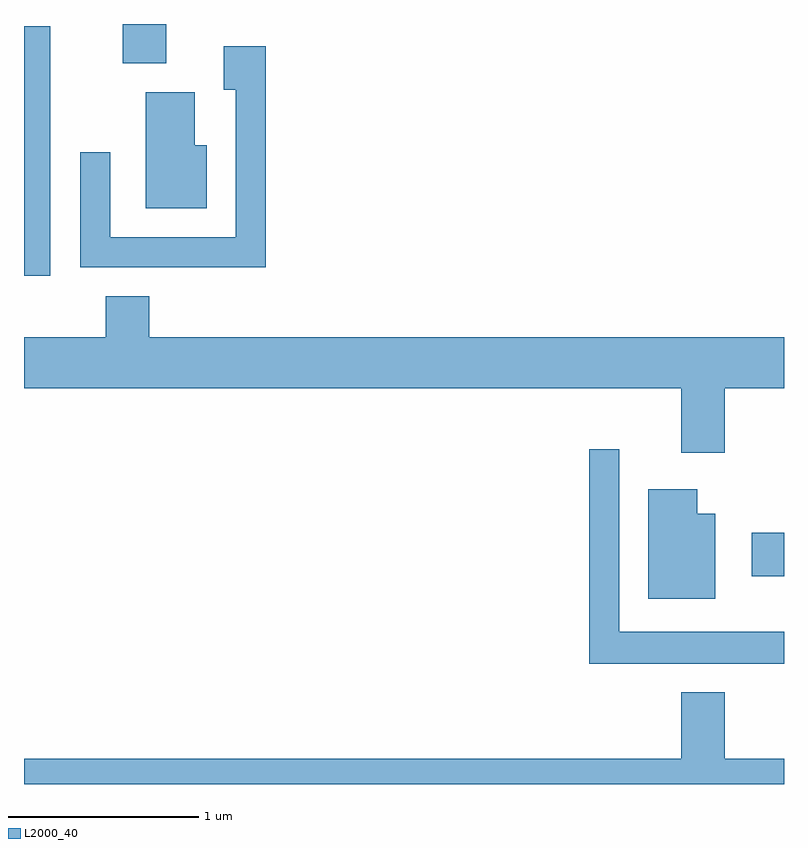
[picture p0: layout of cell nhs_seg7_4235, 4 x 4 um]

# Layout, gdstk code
import gdstk
lib = gdstk.Library(unit=1e-6, precision=1e-09)
def R(c, l, rs):  # rectangles x0, y0, x1, y1
    for r in rs: c.add(gdstk.rectangle(r[:2], r[2:], *l))
def P(c, l, *ps):  # polygons
    for p in ps: c.add(gdstk.Polygon(p, *l))
L2000_40 = (2000, 40)

nhs_seg7_4235 = lib.new_cell('nhs_seg7_4235')
R(nhs_seg7_4235, L2000_40, [(319.441,1693.346,319.611,1693.574), (315.611,1694.926,315.749,1696.239), (316.131,1696.046,316.359,1696.252)])
P(nhs_seg7_4235, L2000_40, [(316.884,1696.134),(316.661,1696.134),(316.661,1695.906),(316.726,1695.906),(316.726,1695.129),(316.064,1695.129),(316.064,1695.578),(315.906,1695.578),(315.906,1694.971),(316.884,1694.971)],
  [(316.574,1695.614),(316.509,1695.614),(316.509,1695.894),(316.251,1695.894),(316.251,1695.281),(316.574,1695.281)],
  [(319.299,1694.336),(319.611,1694.336),(319.611,1694.604),(316.269,1694.604),(316.269,1694.819),(316.041,1694.819),(316.041,1694.604),(315.611,1694.604),(315.611,1694.336),(319.071,1694.336),(319.071,1693.996),(319.299,1693.996)],
  [(319.611,1693.054),(318.744,1693.054),(318.744,1694.013),(318.586,1694.013),(318.586,1692.886),(319.611,1692.886)],
  [(319.249,1693.674),(319.154,1693.674),(319.154,1693.804),(318.896,1693.804),(318.896,1693.226),(319.249,1693.226)],
  [(319.611,1692.384),(319.299,1692.384),(319.299,1692.734),(319.071,1692.734),(319.071,1692.384),(315.611,1692.384),(315.611,1692.252),(319.611,1692.252)])

lib.write_gds('nhs_seg7_4235.gds')
